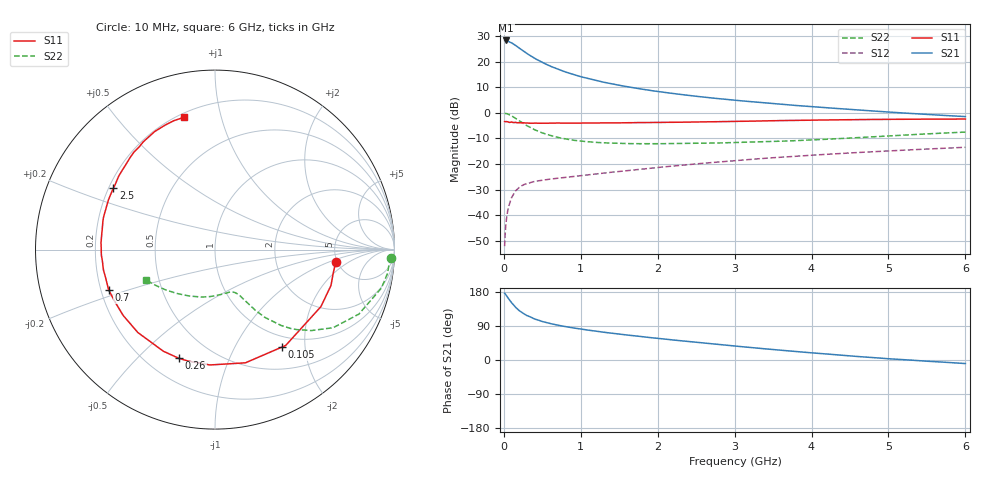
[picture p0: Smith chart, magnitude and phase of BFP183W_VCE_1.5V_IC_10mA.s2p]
! Infineon Technologies  Discrete & RF Semiconductors
! BFP183W
! VCE = 1.5 V,  IC =  10 mA
! Common Emitter S-Parameters:  Jan 2016
# GHz  S  MA  R  50
!  f  S11  S21  S12  S22
! GHz  MAG  ANG  MAG  ANG  MAG  ANG  MAG  ANG
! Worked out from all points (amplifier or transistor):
!   210 points, 10 MHz to 6 GHz, reference 50 ohm
!   highest |S21| = 28.3 dB at 30 MHz (marker M1)
!   |S21| within 3 dB of that: start of sweep to 200.9 MHz
!   unconditionally stable (mu >= 1): 1.247 GHz to 5.679 GHz
!   at 185 MHz: K = 0.23, MSG = 27.6 dB, |S12| = -29.5 dB
!   at 1.52 GHz: K = 1.09, MAG = 14.9 dB, |S12| = -22.8 dB
!   at 6 GHz: K = 0.98, MSG = 6.0 dB, |S12| = -13.4 dB
!   S11 on the Smith chart (normalised r, x): 10 MHz: 4.86, -1.22; 105 MHz: 0.82, -1.57; 260 MHz: 0.33, -0.67; 700 MHz: 0.23, -0.17; 2.5 GHz: 0.22, +0.27; 6 GHz: 0.22, +0.77
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0.01  0.6762 -5.8  25.84 176.2  0.0025 89.4  0.98 -2.6
0.03  0.6764 -17.2  25.87 170.9  0.0075 82.0  0.9706 -7.8
0.05  0.6702 -28.3  25.29 164.7  0.0122 77.2  0.9517 -13.0
0.1  0.6636 -53.6  23.31 151.2  0.022 66.3  0.8781 -24.2
0.105  0.6585 -55.7  23.02 150.1  0.0227 65.2  0.8682 -25.0
0.15  0.6531 -75.0  20.86 139.5  0.0298 57.5  0.7888 -33.5
0.2  0.6433 -92.5  18.35 130.3  0.035 51.0  0.7004 -40.1
0.26  0.6383 -108.3  15.85 122.1  0.0397 45.6  0.6124 -46.0
0.3  0.6352 -116.9  14.34 117.2  0.0416 43.1  0.5612 -48.9
0.4  0.631 -133.0  11.56 108.2  0.0459 39.2  0.4682 -53.7
0.5  0.6296 -144.4  9.611 101.5  0.0486 37.2  0.4053 -56.4
0.6  0.6289 -152.7  8.175 96.2  0.0509 37.1  0.362 -58.1
0.7  0.6336 -159.3  7.141 91.9  0.053 36.9  0.332 -59.4
0.8  0.629 -164.9  6.28 88.1  0.0551 37.5  0.3095 -60.6
1.02  0.6306 -174.4  4.99 81.1  0.0599 39.1  0.2794 -62.8
1.4  0.6363 173.6  3.686 70.8  0.0693 42.2  0.2569 -67.3
2.02  0.6501 158.5  2.589 56.7  0.0863 45.1  0.2498 -76.8
2.5  0.6612 148.8  2.107 46.7  0.1009 45.6  0.2543 -85.8
3.1  0.6834 137.7  1.71 35.0  0.1202 44.5  0.2651 -98.5
4.1  0.7236 122.4  1.289 17.4  0.152 40.9  0.3005 -121.7
5.1  0.7484 110.9  1.014 2.1  0.1838 35.8  0.3609 -142.6
6  0.757 103.3  0.845 -9.4  0.2129 31.0  0.4213 -156.6
